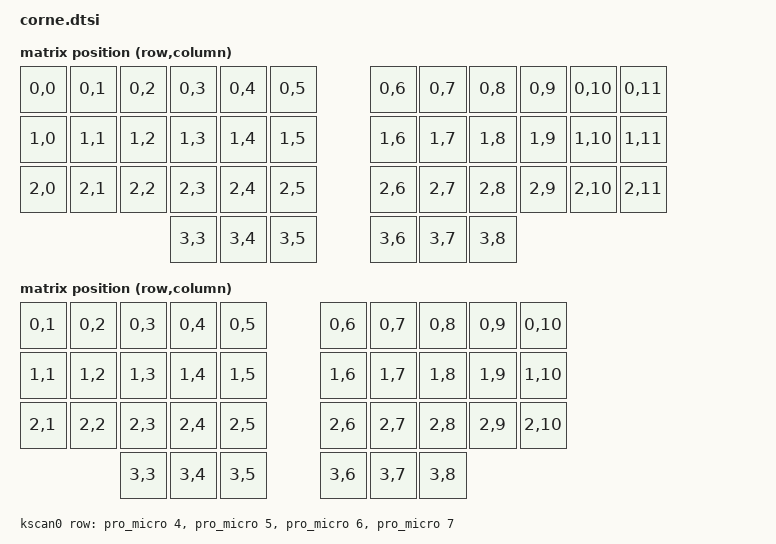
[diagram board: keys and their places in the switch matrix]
#include <physical_layouts.dtsi> 
#include <dt-bindings/zmk/matrix_transform.h> 

#include <layouts/foostan/corne/5column.dtsi> 
#include <layouts/foostan/corne/6column.dtsi> 

&foostan_corne_6col_layout { 
    transform = <&default_transform>; 
}; 

&foostan_corne_5col_layout { 
    transform = <&five_column_transform>; 
}; 

/ { 
    chosen { 
        zephyr,display = &oled; 
        zmk,kscan = &kscan0; 
        zmk,physical-layout = &foostan_corne_6col_layout; 
    }; 

    default_transform: keymap_transform_0 { 
        compatible = "zmk,matrix-transform"; 
        columns = <12>; 
        rows = <4>; 
        map = < 
RC(0,0) RC(0,1) RC(0,2) RC(0,3) RC(0,4) RC(0,5)  RC(0,6) RC(0,7) RC(0,8) RC(0,9) RC(0,10) RC(0,11) 
RC(1,0) RC(1,1) RC(1,2) RC(1,3) RC(1,4) RC(1,5)  RC(1,6) RC(1,7) RC(1,8) RC(1,9) RC(1,10) RC(1,11) 
RC(2,0) RC(2,1) RC(2,2) RC(2,3) RC(2,4) RC(2,5)  RC(2,6) RC(2,7) RC(2,8) RC(2,9) RC(2,10) RC(2,11) 
                        RC(3,3) RC(3,4) RC(3,5)  RC(3,6) RC(3,7) RC(3,8) 
        >; 
    }; 

    five_column_transform: keymap_transform_1 { 
        compatible = "zmk,matrix-transform"; 
        columns = <10>; 
        rows = <4>; 
        map = < 
RC(0,1) RC(0,2) RC(0,3) RC(0,4) RC(0,5)  RC(0,6) RC(0,7) RC(0,8) RC(0,9) RC(0,10) 
RC(1,1) RC(1,2) RC(1,3) RC(1,4) RC(1,5)  RC(1,6) RC(1,7) RC(1,8) RC(1,9) RC(1,10) 
RC(2,1) RC(2,2) RC(2,3) RC(2,4) RC(2,5)  RC(2,6) RC(2,7) RC(2,8) RC(2,9) RC(2,10) 
                        RC(3,3) RC(3,4) RC(3,5)  RC(3,6) RC(3,7) RC(3,8) 
        >; 
    }; 

    kscan0: kscan { 
        compatible = "zmk,kscan-gpio-matrix"; 
        diode-direction = "col2row"; 

        row-gpios = <&pro_micro 4 (GPIO_ACTIVE_HIGH | GPIO_PULL_DOWN)>, 
                    <&pro_micro 5 (GPIO_ACTIVE_HIGH | GPIO_PULL_DOWN)>, 
                    <&pro_micro 6 (GPIO_ACTIVE_HIGH | GPIO_PULL_DOWN)>, 
                    <&pro_micro 7 (GPIO_ACTIVE_HIGH | GPIO_PULL_DOWN)>; 
    }; 
};

//Power/Rest Btn

/ {
    gpios {
        compatible = "gpio-leds";
        
        led1_ctrl: led1_ctrl {
            gpios = <&gpio0 8 GPIO_ACTIVE_HIGH>; //D8
            label = "LED1_BTN_CONTROL";
        };
    };
    
    behaviors {
        // Turn off both LEDs after 2 minutes
        leds_timeout_off: leds_timeout_off {
            compatible = "zmk,behavior-triggered-macro";
            #binding-cells = <0>;
            trigger = <&timeout_trigger>;
            bindings = <
                &gpio_led_off 0 8  // LED1 off
            >;
        };
        
        // Turn on LEDs with any key press
        leds_wake_on: leds_wake_on {
            compatible = "zmk,behavior-triggered-macro";
            #binding-cells = <0>;
            trigger = <&activity_trigger>;
            bindings = <
                &gpio_led_on 0 8   // LED1 on
            >;
        };
    };
    
    triggers {
        timeout_trigger: timeout_trigger {
            compatible = "zmk,activity-trigger";
            activity = "idle";
            timeout-ms = <120000>; // 2 minutes
        };
        
        activity_trigger: activity_trigger {
            compatible = "zmk,activity-trigger";
            activity = "all";
        };
    };
};

&pro_micro_i2c { 
    status = "okay"; 

    oled: ssd1306@3c { 
        compatible = "solomon,ssd1306fb";
        reg = <0x3c>;
        width = <128>;
        height = <32>;
        segment-offset = <0>;
        page-offset = <0>;
        display-offset = <0>;
        multiplex-ratio = <31>;
        segment-remap;
        com-invdir;
        com-sequential;
        inversion-on;
        prechargep = <0x22>;
    }; 
};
